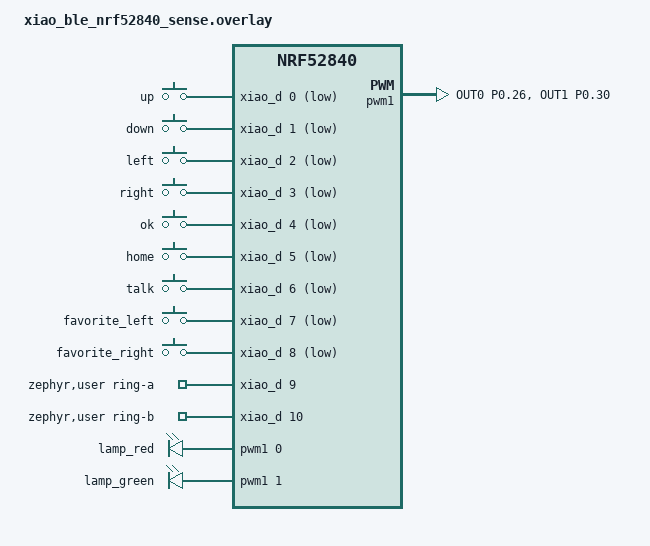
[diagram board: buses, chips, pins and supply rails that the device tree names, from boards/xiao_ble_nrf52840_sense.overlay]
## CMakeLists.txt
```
# SPDX-FileCopyrightText: 2026 Temitope Adeyeri
# SPDX-License-Identifier: AGPL-3.0-or-later
cmake_minimum_required(VERSION 3.20.0)
find_package(Zephyr REQUIRED HINTS $ENV{ZEPHYR_BASE})
project(elyir_remote)
target_sources(app PRIVATE src/main.c src/keys.c src/hid.c src/ring.c src/light.c)
```

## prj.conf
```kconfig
# SPDX-FileCopyrightText: 2026 Temitope Adeyeri
# SPDX-License-Identifier: AGPL-3.0-or-later
# The remote, as a Bluetooth keyboard with media keys that joins one hub and keeps it.

CONFIG_BT=y
CONFIG_BT_PERIPHERAL=y
CONFIG_BT_DEVICE_NAME="Elyir remote"
# Generic Remote Control
CONFIG_BT_DEVICE_APPEARANCE=384
CONFIG_BT_MAX_CONN=1
CONFIG_BT_MAX_PAIRED=2
CONFIG_BT_SMP=y
CONFIG_BT_SMP_APP_PAIRING_ACCEPT=y
CONFIG_BT_SETTINGS=y
CONFIG_BT_FILTER_ACCEPT_LIST=y
CONFIG_BT_CONN_CTX=y
CONFIG_BT_GATT_UUID16_POOL_SIZE=40
CONFIG_BT_GATT_CHRC_POOL_SIZE=20

CONFIG_BT_HIDS=y
CONFIG_BT_HIDS_MAX_CLIENT_COUNT=1
CONFIG_BT_HIDS_DEFAULT_PERM_RW_ENCRYPT=y
CONFIG_BT_BAS=y
CONFIG_BT_DIS=y
CONFIG_BT_DIS_MANUF="Elyir"
CONFIG_BT_DIS_MODEL="Remote"

CONFIG_SETTINGS=y
CONFIG_FLASH=y
CONFIG_FLASH_MAP=y
CONFIG_NVS=y
CONFIG_SETTINGS_NVS=y

CONFIG_INPUT=y
CONFIG_GPIO=y
CONFIG_PWM=y
CONFIG_FPU=y

CONFIG_MAIN_STACK_SIZE=2048
CONFIG_SYSTEM_WORKQUEUE_STACK_SIZE=2048

# The dev board's serial pins carry two of the keys, so there is no console yet.
CONFIG_LOG=n
CONFIG_CONSOLE=n
CONFIG_UART_CONSOLE=n
```

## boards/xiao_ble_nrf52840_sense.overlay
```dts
/* SPDX-FileCopyrightText: 2026 Temitope Adeyeri */
/* SPDX-License-Identifier: AGPL-3.0-or-later */

/* The remote on a Seeed XIAO nRF52840 Sense, wired by hand: every key and both ring lines are a switch to ground on
   D0-D10 (README.md has the table). The XIAO's serial, I2C and SPI pins are among them, so those are switched off. The
   light is the XIAO's own LED, red and green, which make the amber. */
#include <zephyr/dt-bindings/input/input-event-codes.h>
#include <zephyr/dt-bindings/pwm/pwm.h>

/ {
	remote_keys {
		compatible = "gpio-keys";
		debounce-interval-ms = <10>;
		up { gpios = <&xiao_d 0 (GPIO_PULL_UP | GPIO_ACTIVE_LOW)>; zephyr,code = <INPUT_KEY_UP>; };
		down { gpios = <&xiao_d 1 (GPIO_PULL_UP | GPIO_ACTIVE_LOW)>; zephyr,code = <INPUT_KEY_DOWN>; };
		left { gpios = <&xiao_d 2 (GPIO_PULL_UP | GPIO_ACTIVE_LOW)>; zephyr,code = <INPUT_KEY_LEFT>; };
		right { gpios = <&xiao_d 3 (GPIO_PULL_UP | GPIO_ACTIVE_LOW)>; zephyr,code = <INPUT_KEY_RIGHT>; };
		ok { gpios = <&xiao_d 4 (GPIO_PULL_UP | GPIO_ACTIVE_LOW)>; zephyr,code = <INPUT_KEY_ENTER>; };
		home { gpios = <&xiao_d 5 (GPIO_PULL_UP | GPIO_ACTIVE_LOW)>; zephyr,code = <INPUT_KEY_HOME>; };
		talk { gpios = <&xiao_d 6 (GPIO_PULL_UP | GPIO_ACTIVE_LOW)>; zephyr,code = <INPUT_BTN_0>; };
		favorite_left { gpios = <&xiao_d 7 (GPIO_PULL_UP | GPIO_ACTIVE_LOW)>; zephyr,code = <INPUT_BTN_1>; };
		favorite_right { gpios = <&xiao_d 8 (GPIO_PULL_UP | GPIO_ACTIVE_LOW)>; zephyr,code = <INPUT_BTN_2>; };
	};

	zephyr,user {
		ring-a-gpios = <&xiao_d 9 (GPIO_PULL_UP | GPIO_ACTIVE_HIGH)>;
		ring-b-gpios = <&xiao_d 10 (GPIO_PULL_UP | GPIO_ACTIVE_HIGH)>;
	};

	lamp {
		compatible = "pwm-leds";
		lamp_red: red { pwms = <&pwm1 0 PWM_USEC(500) PWM_POLARITY_INVERTED>; };
		lamp_green: green { pwms = <&pwm1 1 PWM_USEC(500) PWM_POLARITY_INVERTED>; };
	};
};

&xiao_serial { status = "disabled"; };
&xiao_i2c { status = "disabled"; };
&xiao_spi { status = "disabled"; };

&pwm1 {
	status = "okay";
	pinctrl-0 = <&remote_pwm_default>;
	pinctrl-1 = <&remote_pwm_sleep>;
	pinctrl-names = "default", "sleep";
};

&pinctrl {
	remote_pwm_default: remote_pwm_default {
		group1 { psels = <NRF_PSEL(PWM_OUT0, 0, 26)>, <NRF_PSEL(PWM_OUT1, 0, 30)>; };
	};
	remote_pwm_sleep: remote_pwm_sleep {
		group1 {
			psels = <NRF_PSEL(PWM_OUT0, 0, 26)>, <NRF_PSEL(PWM_OUT1, 0, 30)>;
			low-power-enable;
		};
	};
};
```

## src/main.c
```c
/* SPDX-FileCopyrightText: 2026 Temitope Adeyeri */
/* SPDX-License-Identifier: AGPL-3.0-or-later */

/* The house's own remote (design/remote/, G: the stone). It first joins a hub as an ordinary Bluetooth remote, so the
   hub hears it exactly as it hears a bought one. Every key and every click of the ring goes through one queue to one
   thread, which owns the rules in keys.c and sends what they say.

   Joining: a remote that has never been joined can be joined by anything nearby. Once joined it only lets its own hub
   back in, and it opens to a new one only while Home is held for three seconds (a press on the thing itself, as for
   everything we make), for a minute. Ten seconds forgets every hub it knew. */
#include "hid.h"
#include "keys.h"
#include "light.h"
#include "ring.h"

#include <zephyr/bluetooth/bluetooth.h>
#include <zephyr/bluetooth/conn.h>
#include <zephyr/bluetooth/gatt.h>
#include <zephyr/bluetooth/services/bas.h>
#include <zephyr/bluetooth/uuid.h>
#include <zephyr/input/input.h>
#include <zephyr/kernel.h>
#include <zephyr/logging/log.h>
#include <zephyr/settings/settings.h>

LOG_MODULE_REGISTER(remote, LOG_LEVEL_INF);

#define PAIRING_WINDOW K_SECONDS(60)

enum { EV_KEY, EV_RING };

struct event {
	uint8_t what;
	int8_t step;
	bool down;
	uint16_t code;
};

K_MSGQ_DEFINE(events, sizeof(struct event), 32, 4);

static struct keys keys;
static struct bt_conn *current;
static bool pairing_open;
static struct k_work advertise_work;
static struct k_work_delayable pairing_close_work;

static const struct bt_data ad[] = {
	BT_DATA_BYTES(BT_DATA_GAP_APPEARANCE, CONFIG_BT_DEVICE_APPEARANCE & 0xff, (CONFIG_BT_DEVICE_APPEARANCE >> 8) & 0xff),
	BT_DATA_BYTES(BT_DATA_FLAGS, (BT_LE_AD_GENERAL | BT_LE_AD_NO_BREDR)),
	BT_DATA_BYTES(BT_DATA_UUID16_ALL, BT_UUID_16_ENCODE(BT_UUID_HIDS_VAL), BT_UUID_16_ENCODE(BT_UUID_BAS_VAL)),
};

static const struct bt_data sd[] = {
	BT_DATA(BT_DATA_NAME_COMPLETE, CONFIG_BT_DEVICE_NAME, sizeof(CONFIG_BT_DEVICE_NAME) - 1),
};

static int key_of(uint16_t code)
{
	switch (code) {
	case INPUT_KEY_UP: return KEY_UP;
	case INPUT_KEY_DOWN: return KEY_DOWN;
	case INPUT_KEY_LEFT: return KEY_LEFT;
	case INPUT_KEY_RIGHT: return KEY_RIGHT;
	case INPUT_KEY_ENTER: return KEY_OK;
	case INPUT_KEY_HOME: return KEY_HOME;
	case INPUT_BTN_0: return KEY_TALK;
	case INPUT_BTN_1: return KEY_FAVORITE_LEFT;
	case INPUT_BTN_2: return KEY_FAVORITE_RIGHT;
	default: return -1;
	}
}

static void on_input(struct input_event *evt, void *user_data)
{
	ARG_UNUSED(user_data);
	if (evt->type != INPUT_EV_KEY) {
		return;
	}
	struct event e = {.what = EV_KEY, .code = evt->code, .down = evt->value != 0};
	k_msgq_put(&events, &e, K_NO_WAIT);
}
INPUT_CALLBACK_DEFINE(NULL, on_input, NULL);

static void on_ring(int step)
{
	struct event e = {.what = EV_RING, .step = (int8_t)step};
	k_msgq_put(&events, &e, K_NO_WAIT);
}

static void show(void)
{
	if (keys_talking(&keys)) {
		light_set(LIGHT_LISTENING);
	} else if (!current && pairing_open) {
		light_set(LIGHT_WAITING);
	} else {
		light_set(LIGHT_DARK);
	}
}

static void accept_bond(const struct bt_bond_info *info, void *data)
{
	int *count = data;
	if (bt_le_filter_accept_list_add(&info->addr) == 0) {
		(*count)++;
	}
}

static void advertise(struct k_work *work)
{
	ARG_UNUSED(work);
	if (current) {
		return;
	}
	bt_le_adv_stop();
	bt_le_filter_accept_list_clear();
	int bonds = 0;
	if (!pairing_open) {
		bt_foreach_bond(BT_ID_DEFAULT, accept_bond, &bonds);
		if (bonds == 0) {
			pairing_open = true;
		}
	}
	struct bt_le_adv_param param = BT_LE_ADV_PARAM_INIT(
		BT_LE_ADV_OPT_CONNECTABLE | (pairing_open ? 0 : BT_LE_ADV_OPT_FILTER_CONN),
		BT_GAP_ADV_FAST_INT_MIN_2, BT_GAP_ADV_FAST_INT_MAX_2, NULL);
	int err = bt_le_adv_start(&param, ad, ARRAY_SIZE(ad), sd, ARRAY_SIZE(sd));
	if (err) {
		LOG_ERR("advertising did not start: %d", err);
	}
	show();
}

static void close_pairing(struct k_work *work)
{
	ARG_UNUSED(work);
	pairing_open = false;
	k_work_submit(&advertise_work);
}

static void open_pairing(void)
{
	pairing_open = true;
	k_work_reschedule(&pairing_close_work, PAIRING_WINDOW);
	light_blink();
	if (current) {
		bt_conn_disconnect(current, BT_HCI_ERR_REMOTE_USER_TERM_CONN);
	} else {
		k_work_submit(&advertise_work);
	}
}

static void connected(struct bt_conn *conn, uint8_t err)
{
	if (err) {
		k_work_submit(&advertise_work);
		return;
	}
	current = bt_conn_ref(conn);
	hid_connected(conn);
	bt_conn_set_security(conn, BT_SECURITY_L2);
	light_blink();
	show();
}

static void disconnected(struct bt_conn *conn, uint8_t reason)
{
	ARG_UNUSED(reason);
	hid_disconnected(conn);
	if (conn == current) {
		bt_conn_unref(current);
		current = NULL;
	}
	show();
}

static void recycled(void)
{
	k_work_submit(&advertise_work);
}

BT_CONN_CB_DEFINE(conn_callbacks) = {
	.connected = connected,
	.disconnected = disconnected,
	.recycled = recycled,
};

static enum bt_security_err pairing_accept(struct bt_conn *conn, const struct bt_conn_pairing_feat *const feat)
{
	ARG_UNUSED(conn);
	ARG_UNUSED(feat);
	return pairing_open ? BT_SECURITY_ERR_SUCCESS : BT_SECURITY_ERR_PAIR_NOT_ALLOWED;
}

static struct bt_conn_auth_cb auth = {
	.pairing_accept = pairing_accept,
};

static void pairing_complete(struct bt_conn *conn, bool bonded)
{
	ARG_UNUSED(conn);
	if (bonded) {
		pairing_open = false;
		k_work_cancel_delayable(&pairing_close_work);
		light_blink();
		show();
	}
}

static struct bt_conn_auth_info_cb auth_info = {
	.pairing_complete = pairing_complete,
};

static void act(const struct act *acts, int n)
{
	for (int i = 0; i < n; i++) {
		switch (acts[i].kind) {
		case ACT_KEYBOARD:
		case ACT_CONSUMER:
			hid_send(&acts[i]);
			break;
		case ACT_PAIRING:
			open_pairing();
			break;
		case ACT_FORGET:
			bt_unpair(BT_ID_DEFAULT, BT_ADDR_LE_ANY);
			open_pairing();
			break;
		}
	}
}

int main(void)
{
	keys_init(&keys);
	k_work_init(&advertise_work, advertise);
	k_work_init_delayable(&pairing_close_work, close_pairing);

	int err = light_init();
	err = err ?: ring_init(on_ring);
	err = err ?: hid_init();
	err = err ?: bt_conn_auth_cb_register(&auth);
	err = err ?: bt_conn_auth_info_cb_register(&auth_info);
	err = err ?: bt_enable(NULL);
	if (err) {
		LOG_ERR("could not start: %d", err);
		return 0;
	}
	settings_load();
	bt_bas_set_battery_level(100);
	k_work_submit(&advertise_work);

	struct act acts[ACTS_MAX];
	for (;;) {
		int32_t wait = keys_wait(&keys, k_uptime_get_32());
		struct event e;
		bool got = k_msgq_get(&events, &e, wait < 0 ? K_FOREVER : K_MSEC(wait)) == 0;
		uint32_t now = k_uptime_get_32();
		if (got && e.what == EV_RING) {
			act(acts, keys_turn(&keys, e.step, acts));
		} else if (got) {
			int key = key_of(e.code);
			if (key >= 0) {
				act(acts, keys_press(&keys, (enum key)key, e.down, now, acts));
			}
		}
		act(acts, keys_tick(&keys, now, acts));
		show();
	}
}
```

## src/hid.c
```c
/* SPDX-FileCopyrightText: 2026 Temitope Adeyeri */
/* SPDX-License-Identifier: AGPL-3.0-or-later */

/* The remote as an ordinary Bluetooth keyboard with media keys, so the hub hears it exactly as it hears a bought
   remote: the TV screen's browser gets the same key names (app/src/tv.ts). */
#include "hid.h"

#include <bluetooth/services/hids.h>
#include <string.h>
#include <zephyr/bluetooth/conn.h>
#include <zephyr/logging/log.h>
#include <zephyr/sys/byteorder.h>
#include <zephyr/sys/util.h>

LOG_MODULE_REGISTER(hid, LOG_LEVEL_INF);

enum { REPORT_KEYBOARD, REPORT_CONSUMER };

#define KEYBOARD_LEN 8
#define CONSUMER_LEN 2

static const uint8_t report_map[] = {
	0x05, 0x01, 0x09, 0x06, 0xA1, 0x01, 0x85, 0x01,
	0x05, 0x07, 0x19, 0xE0, 0x29, 0xE7, 0x15, 0x00, 0x25, 0x01, 0x75, 0x01, 0x95, 0x08, 0x81, 0x02,
	0x95, 0x01, 0x75, 0x08, 0x81, 0x01,
	0x95, 0x06, 0x75, 0x08, 0x15, 0x00, 0x25, 0x65, 0x05, 0x07, 0x19, 0x00, 0x29, 0x65, 0x81, 0x00,
	0xC0,
	0x05, 0x0C, 0x09, 0x01, 0xA1, 0x01, 0x85, 0x02,
	0x15, 0x00, 0x26, 0xFF, 0x03, 0x19, 0x00, 0x2A, 0xFF, 0x03, 0x75, 0x10, 0x95, 0x01, 0x81, 0x00,
	0xC0,
};

BT_HIDS_DEF(hids, KEYBOARD_LEN, CONSUMER_LEN);

static struct bt_conn *host;
static uint8_t held[6];

int hid_init(void)
{
	struct bt_hids_init_param init = {0};
	struct bt_hids_inp_rep *rep = init.inp_rep_group_init.reports;

	init.rep_map.data = report_map;
	init.rep_map.size = sizeof(report_map);
	init.info.bcd_hid = 0x0101;
	init.info.b_country_code = 0x00;
	init.info.flags = BT_HIDS_REMOTE_WAKE | BT_HIDS_NORMALLY_CONNECTABLE;

	rep[REPORT_KEYBOARD].size = KEYBOARD_LEN;
	rep[REPORT_KEYBOARD].id = 1;
	rep[REPORT_CONSUMER].size = CONSUMER_LEN;
	rep[REPORT_CONSUMER].id = 2;
	init.inp_rep_group_init.cnt = 2;

	return bt_hids_init(&hids, &init);
}

void hid_connected(struct bt_conn *conn)
{
	if (bt_hids_connected(&hids, conn) == 0) {
		host = conn;
	}
}

void hid_disconnected(struct bt_conn *conn)
{
	bt_hids_disconnected(&hids, conn);
	if (conn == host) {
		host = NULL;
		memset(held, 0, sizeof(held));
	}
}

static void send(uint8_t index, const uint8_t *report, uint8_t len)
{
	if (!host) {
		return;
	}
	int err = bt_hids_inp_rep_send(&hids, host, index, report, len, NULL);
	if (err) {
		LOG_WRN("report %u not sent: %d", index, err);
	}
}

static void keyboard(uint16_t usage, bool down)
{
	int free = -1;
	for (int i = 0; i < (int)ARRAY_SIZE(held); i++) {
		if (held[i] == usage) {
			if (!down) {
				held[i] = 0;
			}
			goto report;
		}
		if (!held[i] && free < 0) {
			free = i;
		}
	}
	if (down && free >= 0) {
		held[free] = (uint8_t)usage;
	}
report:;
	uint8_t r[KEYBOARD_LEN] = {0};
	memcpy(&r[2], held, sizeof(held));
	send(REPORT_KEYBOARD, r, sizeof(r));
}

static void consumer(uint16_t usage, bool down)
{
	uint8_t r[CONSUMER_LEN] = {0};
	if (down) {
		sys_put_le16(usage, r);
	}
	send(REPORT_CONSUMER, r, sizeof(r));
}

void hid_send(const struct act *a)
{
	if (a->kind == ACT_KEYBOARD) {
		keyboard(a->usage, a->down);
	} else if (a->kind == ACT_CONSUMER) {
		consumer(a->usage, a->down);
	}
}
```

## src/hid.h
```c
/* SPDX-FileCopyrightText: 2026 Temitope Adeyeri */
/* SPDX-License-Identifier: AGPL-3.0-or-later */
#pragma once
#include "keys.h"

struct bt_conn;

int hid_init(void);
void hid_connected(struct bt_conn *conn);
void hid_disconnected(struct bt_conn *conn);
void hid_send(const struct act *a);
```

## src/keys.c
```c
/* SPDX-FileCopyrightText: 2026 Temitope Adeyeri */
/* SPDX-License-Identifier: AGPL-3.0-or-later */

#include "keys.h"

#include <string.h>

static int put(struct act *out, int n, enum act_kind kind, uint16_t usage, bool down)
{
	out[n] = (struct act){.kind = kind, .usage = usage, .down = down};
	return n + 1;
}

static int tap(struct act *out, int n, enum act_kind kind, uint16_t usage)
{
	n = put(out, n, kind, usage, true);
	return put(out, n, kind, usage, false);
}

static bool favorite_held(const struct keys *k)
{
	return k->favorite_left || k->favorite_right;
}

void keys_init(struct keys *k)
{
	memset(k, 0, sizeof(*k));
}

bool keys_talking(const struct keys *k)
{
	return k->talking;
}

static const uint16_t KEYBOARD[] = {
	[KEY_UP] = HID_KB_UP, [KEY_DOWN] = HID_KB_DOWN, [KEY_LEFT] = HID_KB_LEFT,
	[KEY_RIGHT] = HID_KB_RIGHT, [KEY_OK] = HID_KB_ENTER,
};

static int favorite(struct keys *k, bool *side, bool down, uint32_t now, struct act *out)
{
	bool was = favorite_held(k);
	*side = down;
	bool is = favorite_held(k);
	if (!was && is) {
		k->favorite_since = now;
		k->turned = false;
		k->long_sent = false;
		return 0;
	}
	if (was && !is) {
		if (k->long_sent) {
			return put(out, 0, ACT_CONSUMER, HID_CC_BOOKMARKS, false);
		}
		if (!k->turned) {
			return tap(out, 0, ACT_CONSUMER, HID_CC_BOOKMARKS);
		}
	}
	return 0;
}

int keys_press(struct keys *k, enum key key, bool down, uint32_t now, struct act out[ACTS_MAX])
{
	switch (key) {
	case KEY_UP:
	case KEY_DOWN:
	case KEY_LEFT:
	case KEY_RIGHT:
	case KEY_OK:
		return put(out, 0, ACT_KEYBOARD, KEYBOARD[key], down);
	case KEY_TALK:
		k->talking = down;
		return put(out, 0, ACT_CONSUMER, HID_CC_VOICE, down);
	case KEY_FAVORITE_LEFT:
		return favorite(k, &k->favorite_left, down, now, out);
	case KEY_FAVORITE_RIGHT:
		return favorite(k, &k->favorite_right, down, now, out);
	case KEY_HOME:
		if (down) {
			k->home = true;
			k->home_since = now;
			k->pairing_sent = false;
			k->forget_sent = false;
			return 0;
		}
		if (!k->home) {
			return 0;
		}
		k->home = false;
		if (!k->pairing_sent && now - k->home_since < HOME_TAP_MS) {
			return tap(out, 0, ACT_KEYBOARD, HID_KB_HOME);
		}
		return 0;
	}
	return 0;
}

int keys_turn(struct keys *k, int step, struct act out[ACTS_MAX])
{
	if (step == 0) {
		return 0;
	}
	if (favorite_held(k)) {
		k->turned = true;
		return tap(out, 0, ACT_CONSUMER, step > 0 ? HID_CC_BRIGHTNESS_UP : HID_CC_BRIGHTNESS_DOWN);
	}
	return tap(out, 0, ACT_CONSUMER, step > 0 ? HID_CC_VOLUME_UP : HID_CC_VOLUME_DOWN);
}

int keys_tick(struct keys *k, uint32_t now, struct act out[ACTS_MAX])
{
	int n = 0;
	if (favorite_held(k) && !k->turned && !k->long_sent && now - k->favorite_since >= FAVORITE_LONG_MS) {
		k->long_sent = true;
		n = put(out, n, ACT_CONSUMER, HID_CC_BOOKMARKS, true);
	}
	if (k->home && !k->pairing_sent && now - k->home_since >= HOME_PAIRING_MS) {
		k->pairing_sent = true;
		n = put(out, n, ACT_PAIRING, 0, true);
	}
	if (k->home && !k->forget_sent && now - k->home_since >= HOME_FORGET_MS) {
		k->forget_sent = true;
		n = put(out, n, ACT_FORGET, 0, true);
	}
	return n;
}

static int32_t sooner(int32_t a, int32_t b)
{
	return a < 0 ? b : (b < 0 || a < b ? a : b);
}

int32_t keys_wait(const struct keys *k, uint32_t now)
{
	int32_t wait = -1;
	if (favorite_held(k) && !k->turned && !k->long_sent) {
		uint32_t gone = now - k->favorite_since;
		wait = sooner(wait, gone >= FAVORITE_LONG_MS ? 0 : (int32_t)(FAVORITE_LONG_MS - gone));
	}
	if (k->home && !k->forget_sent) {
		uint32_t gone = now - k->home_since;
		uint32_t at = k->pairing_sent ? HOME_FORGET_MS : HOME_PAIRING_MS;
		wait = sooner(wait, gone >= at ? 0 : (int32_t)(at - gone));
	}
	return wait;
}
```

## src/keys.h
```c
/* SPDX-FileCopyrightText: 2026 Temitope Adeyeri */
/* SPDX-License-Identifier: AGPL-3.0-or-later */

/* What each touch of the remote sends (design/remote/, G). The remote stays simple and the hub decides: the ring
   sends the sound keys, and the hub turns them into the lights when nothing is playing. Only the chord is decided
   here, because only the remote knows a side key is being held while the ring turns. No Zephyr in this file, so it
   is tested on the computer (tests/run.sh). */
#pragma once
#include <stdbool.h>
#include <stdint.h>

enum key { KEY_UP, KEY_DOWN, KEY_LEFT, KEY_RIGHT, KEY_OK, KEY_HOME, KEY_TALK, KEY_FAVORITE_LEFT, KEY_FAVORITE_RIGHT };

enum act_kind { ACT_KEYBOARD, ACT_CONSUMER, ACT_PAIRING, ACT_FORGET };

struct act {
	enum act_kind kind;
	uint16_t usage;
	bool down;
};

#define HID_KB_UP 0x52
#define HID_KB_DOWN 0x51
#define HID_KB_LEFT 0x50
#define HID_KB_RIGHT 0x4F
#define HID_KB_ENTER 0x28
#define HID_KB_HOME 0x4A
#define HID_CC_VOLUME_UP 0xE9
#define HID_CC_VOLUME_DOWN 0xEA
#define HID_CC_BRIGHTNESS_UP 0x6F
#define HID_CC_BRIGHTNESS_DOWN 0x70
#define HID_CC_VOICE 0xCF
#define HID_CC_BOOKMARKS 0x22A

#define FAVORITE_LONG_MS 600
#define HOME_TAP_MS 1000
#define HOME_PAIRING_MS 3000
#define HOME_FORGET_MS 10000
#define ACTS_MAX 4

struct keys {
	bool favorite_left, favorite_right, turned, long_sent;
	uint32_t favorite_since;
	bool home, pairing_sent, forget_sent, talking;
	uint32_t home_since;
};

void keys_init(struct keys *k);
int keys_press(struct keys *k, enum key key, bool down, uint32_t now, struct act out[ACTS_MAX]);
int keys_turn(struct keys *k, int step, struct act out[ACTS_MAX]);
int keys_tick(struct keys *k, uint32_t now, struct act out[ACTS_MAX]);
/* Milliseconds until keys_tick has something to do, or -1 when nothing is waiting. */
int32_t keys_wait(const struct keys *k, uint32_t now);
bool keys_talking(const struct keys *k);
```

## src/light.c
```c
/* SPDX-FileCopyrightText: 2026 Temitope Adeyeri */
/* SPDX-License-Identifier: AGPL-3.0-or-later */

/* The remote's one light, the lamp dot of the startup (design/boot/): dark while it is simply being used, breathing
   slowly while it waits to be joined to a hub, breathing quicker while it listens, and one short blink for done. It is
   an LED, so its amber is the emitter's own (red with a little green), never the panel's pastel. The PWM is only
   written while the light is moving or when it changes. */
#include "light.h"

#include <math.h>
#include <zephyr/drivers/pwm.h>
#include <zephyr/kernel.h>

#define FRAME_MS 40
#define SLOW_MS 3200
#define QUICK_MS 1200
#define BLINK_MS 160
#define GREEN_SHARE 0.28f

static const struct pwm_dt_spec red = PWM_DT_SPEC_GET(DT_NODELABEL(lamp_red));
static const struct pwm_dt_spec green = PWM_DT_SPEC_GET(DT_NODELABEL(lamp_green));

static struct k_work_delayable frame_work;
static enum light_mode mode = LIGHT_DARK;
static uint32_t started, blink_until;
static float shown = -1.0f;

static void show(float level)
{
	if (level == shown) {
		return;
	}
	shown = level;
	pwm_set_pulse_dt(&red, (uint32_t)(red.period * level));
	pwm_set_pulse_dt(&green, (uint32_t)(green.period * level * GREEN_SHARE));
}

static float breath(uint32_t since, uint32_t period)
{
	float phase = (float)(since % period) / (float)period;
	return 0.04f + 0.96f * (0.5f - 0.5f * cosf(2.0f * 3.14159265f * phase));
}

static void frame(struct k_work *work)
{
	ARG_UNUSED(work);
	uint32_t now = k_uptime_get_32();
	if ((int32_t)(blink_until - now) > 0) {
		show(1.0f);
		k_work_reschedule(&frame_work, K_MSEC(blink_until - now));
		return;
	}
	switch (mode) {
	case LIGHT_DARK:
		show(0.0f);
		return;
	case LIGHT_WAITING:
		show(breath(now - started, SLOW_MS));
		break;
	case LIGHT_LISTENING:
		show(breath(now - started, QUICK_MS));
		break;
	}
	k_work_reschedule(&frame_work, K_MSEC(FRAME_MS));
}

int light_init(void)
{
	if (!pwm_is_ready_dt(&red) || !pwm_is_ready_dt(&green)) {
		return -ENODEV;
	}
	k_work_init_delayable(&frame_work, frame);
	show(0.0f);
	return 0;
}

void light_set(enum light_mode m)
{
	if (m == mode) {
		return;
	}
	mode = m;
	started = k_uptime_get_32();
	k_work_reschedule(&frame_work, K_NO_WAIT);
}

void light_blink(void)
{
	blink_until = k_uptime_get_32() + BLINK_MS;
	k_work_reschedule(&frame_work, K_NO_WAIT);
}
```

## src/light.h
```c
/* SPDX-FileCopyrightText: 2026 Temitope Adeyeri */
/* SPDX-License-Identifier: AGPL-3.0-or-later */
#pragma once

enum light_mode { LIGHT_DARK, LIGHT_WAITING, LIGHT_LISTENING };

int light_init(void);
void light_set(enum light_mode mode);
void light_blink(void);
```

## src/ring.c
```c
/* SPDX-FileCopyrightText: 2026 Temitope Adeyeri */
/* SPDX-License-Identifier: AGPL-3.0-or-later */

/* The ring: an Alps EC21A, 30 clicks and 15 pulses a turn, so a click is one edge of A, and only A rests at a fixed
   level on a click (B's level there is not specified). A click is counted when A has settled at a new level, which
   rides out contact bounce, and B read at that moment gives the way it turned. */
#include "ring.h"

#include <zephyr/drivers/gpio.h>
#include <zephyr/kernel.h>

#define SETTLE K_MSEC(1)

static const struct gpio_dt_spec a = GPIO_DT_SPEC_GET(DT_PATH(zephyr_user), ring_a_gpios);
static const struct gpio_dt_spec b = GPIO_DT_SPEC_GET(DT_PATH(zephyr_user), ring_b_gpios);

static struct gpio_callback edge_cb;
static struct k_work_delayable settle_work;
static ring_fn on_click;
static int last_a;

static void settled(struct k_work *work)
{
	ARG_UNUSED(work);
	int now = gpio_pin_get_dt(&a);
	if (now < 0 || now == last_a) {
		return;
	}
	last_a = now;
	on_click(now == gpio_pin_get_dt(&b) ? 1 : -1);
}

static void edge(const struct device *port, struct gpio_callback *cb, uint32_t pins)
{
	ARG_UNUSED(port);
	ARG_UNUSED(cb);
	ARG_UNUSED(pins);
	k_work_reschedule(&settle_work, SETTLE);
}

int ring_init(ring_fn fn)
{
	if (!gpio_is_ready_dt(&a) || !gpio_is_ready_dt(&b)) {
		return -ENODEV;
	}
	on_click = fn;
	k_work_init_delayable(&settle_work, settled);
	int err = gpio_pin_configure_dt(&a, GPIO_INPUT);
	err = err ?: gpio_pin_configure_dt(&b, GPIO_INPUT);
	if (err) {
		return err;
	}
	last_a = gpio_pin_get_dt(&a);
	gpio_init_callback(&edge_cb, edge, BIT(a.pin));
	err = gpio_add_callback(a.port, &edge_cb);
	return err ?: gpio_pin_interrupt_configure_dt(&a, GPIO_INT_EDGE_BOTH);
}
```

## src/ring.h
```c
/* SPDX-FileCopyrightText: 2026 Temitope Adeyeri */
/* SPDX-License-Identifier: AGPL-3.0-or-later */
#pragma once

/* +1 or -1 for each click. Called from the system work queue. */
typedef void (*ring_fn)(int step);

int ring_init(ring_fn fn);
```
